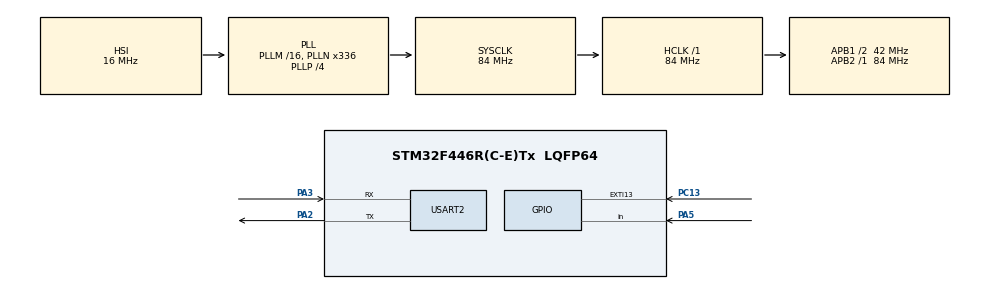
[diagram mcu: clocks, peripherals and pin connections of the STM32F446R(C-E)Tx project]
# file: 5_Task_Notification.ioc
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FREERTOS.INCLUDE_xEventGroupSetBitFromISR=0
FREERTOS.INCLUDE_xTimerPendFunctionCall=0
FREERTOS.Tasks01=defaultTask,0,128,StartDefaultTask,Default,NULL,Dynamic,NULL,NULL
FREERTOS.configUSE_NEWLIB_REENTRANT=1
FREERTOS.configUSE_TIMERS=0
Mcu.Family=STM32F4
Mcu.Name=STM32F446R(C-E)Tx
Mcu.Package=LQFP64
NVIC.EXTI15_10_IRQn=true\:5\:0\:true\:false\:true\:true\:true\:true\:true
NVIC.PriorityGroup=NVIC_PRIORITYGROUP_4
NVIC.TIM6_DAC_IRQn=true\:0\:0\:false\:false\:true\:false\:false\:true\:true
NVIC.TimeBase=TIM6_DAC_IRQn
NVIC.TimeBaseIP=TIM6
NVIC.USART2_IRQn=true\:5\:0\:false\:false\:true\:true\:true\:true\:true
PA2.Mode=Asynchronous
PA2.Signal=USART2_TX
PA3.Mode=Asynchronous
PA3.Signal=USART2_RX
PA5.Signal=GPIO_Input
PC13.Signal=GPXTI13
ProjectManager.HeapSize=0x200
ProjectManager.StackSize=0x400
ProjectManager.TargetToolchain=STM32CubeIDE
RCC.AHBFreq_Value=84000000
RCC.APB1CLKDivider=RCC_HCLK_DIV2
RCC.APB1Freq_Value=42000000
RCC.APB1TimFreq_Value=84000000
RCC.APB2Freq_Value=84000000
RCC.APB2TimFreq_Value=84000000
RCC.CortexFreq_Value=84000000
RCC.FLatency-AdvancedSettings=FLASH_LATENCY_2
RCC.HCLKFreq_Value=84000000
RCC.HSE_VALUE=8000000
RCC.HSI_VALUE=16000000
RCC.LSE_VALUE=32768
RCC.PLLN=336
RCC.PLLP=RCC_PLLP_DIV4
RCC.SYSCLKFreq_VALUE=84000000
RCC.SYSCLKSource=RCC_SYSCLKSOURCE_PLLCLK
RCC.USBFreq_Value=168000000
RCC.VCOOutputFreq_Value=336000000
USART2.VirtualMode=VM_ASYNC
VP_FREERTOS_VS_CMSIS_V1.Mode=CMSIS_V1
VP_SYS_VS_tim6.Mode=TIM6
board=NUCLEO-F446RE

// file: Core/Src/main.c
/* USER CODE BEGIN Header */
/**
  ******************************************************************************
  * @file           : main.c
  * @brief          : Main program body
  ******************************************************************************
  * @attention
  *
  * Copyright (c) 2026 STMicroelectronics.
  * All rights reserved.
  *
  * This software is licensed under terms that can be found in the LICENSE file
  * in the root directory of this software component.
  * If no LICENSE file comes with this software, it is provided AS-IS.
  *
  ******************************************************************************
  */
/* USER CODE END Header */
#include "main.h"
#include "cmsis_os.h"

/* USER CODE BEGIN Includes */
#include "FreeRTOS.h"
#include "task.h"

/* USER CODE END Includes */

UART_HandleTypeDef huart2;

osThreadId defaultTaskHandle;
/* USER CODE BEGIN PV */
TaskHandle_t Task01_handle;

void Task01_Entry(void *arg){
	while(1){
		// wait forever until the notification is received
		ulTaskNotifyTake(pdTRUE, portMAX_DELAY);

		HAL_UART_Transmit(&huart2, (uint8_t *)"Notification is received from ISR\r\n", 35, 10);
		vTaskDelay(pdMS_TO_TICKS(1000));

		// do some processing after receiving Notification
	}
}

/* USER CODE END PV */

void SystemClock_Config(void);
static void MX_GPIO_Init(void);
static void MX_USART2_UART_Init(void);
void StartDefaultTask(void const * argument);

int main(void)
{

  /* MCU Configuration--------------------------------------------------------*/

  /* Reset of all peripherals, Initializes the Flash interface and the Systick. */
  HAL_Init();

  /* Configure the system clock */
  SystemClock_Config();

  /* Initialize all configured peripherals */
  MX_GPIO_Init();
  MX_USART2_UART_Init();
  /* USER CODE BEGIN 2 */

  /************ Create tasks **************/
  BaseType_t task01_status;
  task01_status = xTaskCreate(Task01_Entry, "Task01", 128, NULL, 3, &Task01_handle);

  if(task01_status == pdTRUE){
	HAL_UART_Transmit(&huart2, (const uint8_t *)"Tasks are created\r\n", 19, HAL_MAX_DELAY);
  }else{
	HAL_UART_Transmit(&huart2, (const uint8_t *)"Tasks are not created\r\n", 23, HAL_MAX_DELAY);
  }

  vTaskStartScheduler();
  /* We should never get here as control is now taken by the scheduler */

  /* USER CODE END 2 */

  /* Create the thread(s) */
  /* definition and creation of defaultTask */
  osThreadDef(defaultTask, StartDefaultTask, osPriorityNormal, 0, 128);
  defaultTaskHandle = osThreadCreate(osThread(defaultTask), NULL);

  /* Start scheduler */
  osKernelStart();

  /* We should never get here as control is now taken by the scheduler */

  /* Infinite loop */
  while (1)
  {

  }
}

void SystemClock_Config(void)
{
  RCC_OscInitTypeDef RCC_OscInitStruct = {0};
  RCC_ClkInitTypeDef RCC_ClkInitStruct = {0};

  /** Configure the main internal regulator output voltage
  */
  __HAL_RCC_PWR_CLK_ENABLE();
  __HAL_PWR_VOLTAGESCALING_CONFIG(PWR_REGULATOR_VOLTAGE_SCALE3);

  /** Initializes the RCC Oscillators according to the specified parameters
  * in the RCC_OscInitTypeDef structure.
  */
  RCC_OscInitStruct.OscillatorType = RCC_OSCILLATORTYPE_HSI;
  RCC_OscInitStruct.HSIState = RCC_HSI_ON;
  RCC_OscInitStruct.HSICalibrationValue = RCC_HSICALIBRATION_DEFAULT;
  RCC_OscInitStruct.PLL.PLLState = RCC_PLL_ON;
  RCC_OscInitStruct.PLL.PLLSource = RCC_PLLSOURCE_HSI;
  RCC_OscInitStruct.PLL.PLLM = 16;
  RCC_OscInitStruct.PLL.PLLN = 336;
  RCC_OscInitStruct.PLL.PLLP = RCC_PLLP_DIV4;
  RCC_OscInitStruct.PLL.PLLQ = 2;
  RCC_OscInitStruct.PLL.PLLR = 2;
  if (HAL_RCC_OscConfig(&RCC_OscInitStruct) != HAL_OK)
  {
    Error_Handler();
  }

  /** Initializes the CPU, AHB and APB buses clocks
  */
  RCC_ClkInitStruct.ClockType = RCC_CLOCKTYPE_HCLK|RCC_CLOCKTYPE_SYSCLK
                              |RCC_CLOCKTYPE_PCLK1|RCC_CLOCKTYPE_PCLK2;
  RCC_ClkInitStruct.SYSCLKSource = RCC_SYSCLKSOURCE_PLLCLK;
  RCC_ClkInitStruct.AHBCLKDivider = RCC_SYSCLK_DIV1;
  RCC_ClkInitStruct.APB1CLKDivider = RCC_HCLK_DIV2;
  RCC_ClkInitStruct.APB2CLKDivider = RCC_HCLK_DIV1;

  if (HAL_RCC_ClockConfig(&RCC_ClkInitStruct, FLASH_LATENCY_2) != HAL_OK)
  {
    Error_Handler();
  }
}

static void MX_USART2_UART_Init(void)
{

  huart2.Instance = USART2;
  huart2.Init.BaudRate = 115200;
  huart2.Init.WordLength = UART_WORDLENGTH_8B;
  huart2.Init.StopBits = UART_STOPBITS_1;
  huart2.Init.Parity = UART_PARITY_NONE;
  huart2.Init.Mode = UART_MODE_TX_RX;
  huart2.Init.HwFlowCtl = UART_HWCONTROL_NONE;
  huart2.Init.OverSampling = UART_OVERSAMPLING_16;
  if (HAL_UART_Init(&huart2) != HAL_OK)
  {
    Error_Handler();
  }

}

static void MX_GPIO_Init(void)
{
  GPIO_InitTypeDef GPIO_InitStruct = {0};

  /* GPIO Ports Clock Enable */
  __HAL_RCC_GPIOC_CLK_ENABLE();
  __HAL_RCC_GPIOA_CLK_ENABLE();

  /*Configure GPIO pin : PC13 */
  GPIO_InitStruct.Pin = GPIO_PIN_13;
  GPIO_InitStruct.Mode = GPIO_MODE_IT_RISING;
  GPIO_InitStruct.Pull = GPIO_NOPULL;
  HAL_GPIO_Init(GPIOC, &GPIO_InitStruct);

  /*Configure GPIO pin : PA5 */
  GPIO_InitStruct.Pin = GPIO_PIN_5;
  GPIO_InitStruct.Mode = GPIO_MODE_INPUT;
  GPIO_InitStruct.Pull = GPIO_NOPULL;
  HAL_GPIO_Init(GPIOA, &GPIO_InitStruct);

  /* EXTI interrupt init*/
  HAL_NVIC_SetPriority(EXTI15_10_IRQn, 5, 0);
  HAL_NVIC_EnableIRQ(EXTI15_10_IRQn);

}

/* USER CODE BEGIN 4 */
void HAL_GPIO_EXTI_Callback(uint16_t GPIO_Pin){
	if(GPIO_Pin == GPIO_PIN_13){
		// toggle LED
		HAL_GPIO_TogglePin(GPIOA, GPIO_PIN_5);

		// send a notification to a task
		BaseType_t xHigherPrioTaskWoken = pdFALSE;
		vTaskNotifyGiveFromISR(Task01_handle, &xHigherPrioTaskWoken);

		// context switch
		portYIELD_FROM_ISR(xHigherPrioTaskWoken);
	}
}
/* USER CODE END 4 */

void StartDefaultTask(void const * argument)
{
  for(;;)
  {
    osDelay(1);
  }
}

void HAL_TIM_PeriodElapsedCallback(TIM_HandleTypeDef *htim)
{
  if (htim->Instance == TIM6) {
    HAL_IncTick();
  }
}

void Error_Handler(void)
{
  __disable_irq();
  while (1)
  {
  }
}
